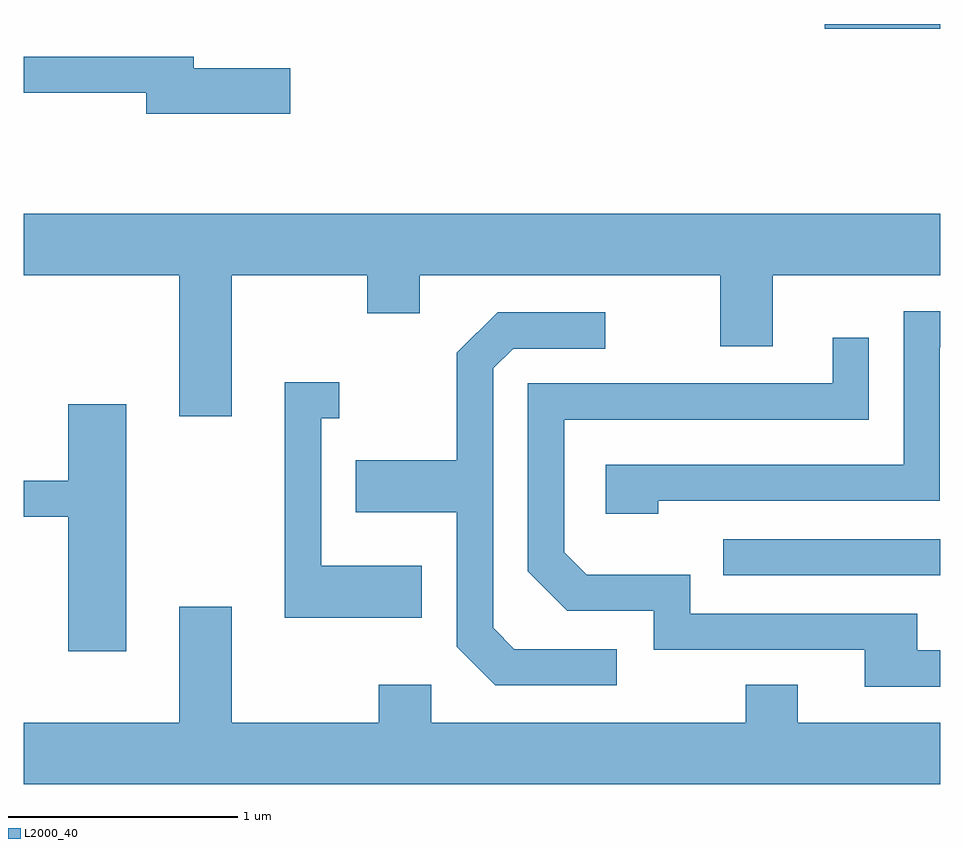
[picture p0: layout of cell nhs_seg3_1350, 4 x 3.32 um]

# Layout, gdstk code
import gdstk
lib = gdstk.Library(unit=1e-6, precision=1e-09)
def R(c, l, rs):  # rectangles x0, y0, x1, y1
    for r in rs: c.add(gdstk.rectangle(r[:2], r[2:], *l))
def P(c, l, *ps):  # polygons
    for p in ps: c.add(gdstk.Polygon(p, *l))
L2000_40 = (2000, 40)

nhs_seg3_1350 = lib.new_cell('nhs_seg3_1350')
R(nhs_seg3_1350, L2000_40, [(226.663,1233.486,227.611,1233.644), (227.106,1235.871,227.611,1235.892)])
P(nhs_seg3_1350, L2000_40, [(224.774,1235.699),(224.354,1235.699),(224.354,1235.749),(223.611,1235.749),(223.611,1235.591),(224.146,1235.591),(224.146,1235.501),(224.774,1235.501)],
  [(224.519,1234.796),(225.111,1234.796),(225.111,1234.631),(225.339,1234.631),(225.339,1234.796),(226.651,1234.796),(226.651,1234.486),(226.879,1234.486),(226.879,1234.796),(227.611,1234.796),(227.611,1235.064),(223.611,1235.064),(223.611,1234.796),(224.291,1234.796),(224.291,1234.181),(224.519,1234.181)],
  [(226.379,1233.811),(227.609,1233.811),(227.609,1234.481),(227.611,1234.481),(227.611,1234.639),(227.451,1234.639),(227.451,1233.969),(226.151,1233.969),(226.151,1233.756),(226.379,1233.756)],
  [(226.198,1233.164),(225.752,1233.164),(225.659,1233.257),(225.659,1234.389),(225.747,1234.476),(226.148,1234.476),(226.148,1234.634),(225.679,1234.634),(225.501,1234.457),(225.501,1233.989),(225.061,1233.989),(225.061,1233.761),(225.501,1233.761),(225.501,1233.174),(225.669,1233.006),(226.198,1233.006)],
  [(227.611,1233.159),(227.509,1233.159),(227.509,1233.319),(226.519,1233.319),(226.519,1233.489),(226.067,1233.489),(225.969,1233.587),(225.969,1234.166),(227.299,1234.166),(227.299,1234.523),(227.141,1234.523),(227.141,1234.324),(225.811,1234.324),(225.811,1233.504),(225.984,1233.331),(226.361,1233.331),(226.361,1233.161),(227.281,1233.161),(227.281,1233.001),(227.611,1233.001)],
  [(225.349,1233.529),(224.909,1233.529),(224.909,1234.171),(224.988,1234.171),(224.988,1234.329),(224.751,1234.329),(224.751,1233.301),(225.349,1233.301)],
  [(224.059,1234.234),(223.806,1234.234),(223.806,1233.899),(223.611,1233.899),(223.611,1233.741),(223.806,1233.741),(223.806,1233.156),(224.059,1233.156)],
  [(227.611,1232.844),(226.989,1232.844),(226.989,1233.009),(226.761,1233.009),(226.761,1232.844),(225.389,1232.844),(225.389,1233.009),(225.161,1233.009),(225.161,1232.844),(224.519,1232.844),(224.519,1233.349),(224.291,1233.349),(224.291,1232.844),(223.611,1232.844),(223.611,1232.576),(227.611,1232.576)])

lib.write_gds('nhs_seg3_1350.gds')
